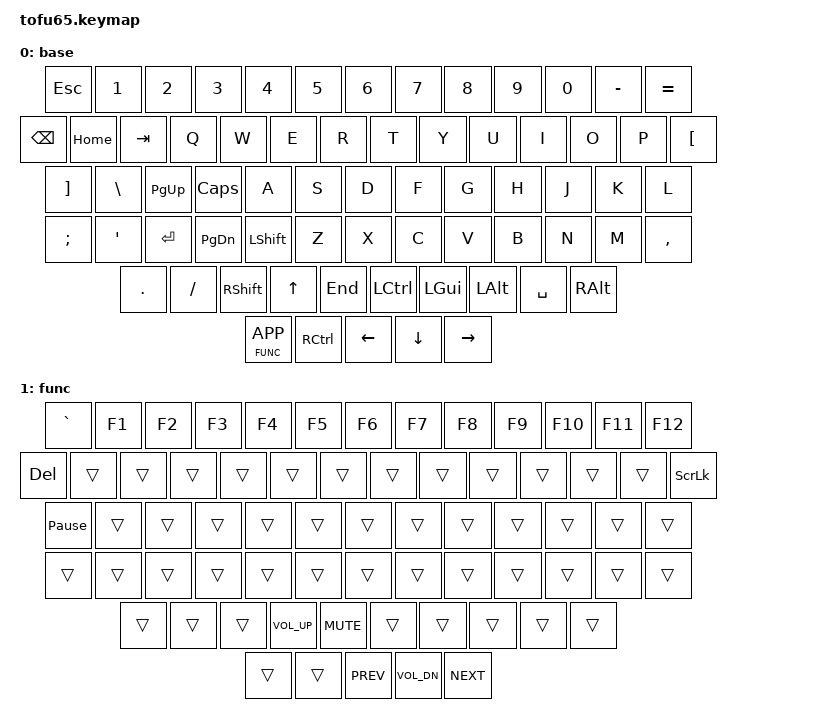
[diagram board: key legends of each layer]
// Copyright (c) 2023 The ZMK Contributors
// SPDX-License-Identifier: MIT

#include <behaviors.dtsi>
#include <dt-bindings/zmk/keys.h>

#define BASE  0
#define FUNC  1

//
// ---------- Tofu65 2.0 key switch positions ----------
//
// -------------------------------------------------------------------------------------------------
// |  0  |  1  |  2  |  3  |  4  |  5  |  6  |  7  |  8  |  9  |  10  |  11  |  12  |   13   |  14 |
// -------------------------------------------------------------------------------------------------
// |  15    |  16 |  17 |  18 |  19 |  20 |  21 |  22 |  23 |  24 |  24 |  26 |  27 |   28   |  29 |
// -------------------------------------------------------------------------------------------------
// |  30     |  31 |  32 |  33 |  34 |  35 |  36 |  37 |  38 |  39 |  40 |  41  |     42     |  43 |
// -------------------------------------------------------------------------------------------------
// |     44     |  45 |  46 |  47 |  48 |  49 |  50 |  51 |  52 |  53 |  54 |    55   |  56  |  57 |
// -------------------------------------------------------------------------------------------------
// |   58  |   59  |   60  |                   61              |  62 |  63 |  64 |  65 |  66 |  67 |
// -------------------------------------------------------------------------------------------------
//

/ {
    combos {
        compatible = "zmk,combos";

        // BACKSPACE + LCTRL + LALT = &sys_reset
        combo_bootloader {
            timeout-ms = <100>;
            key-positions = <13 58 60>;
            bindings = <&sys_reset>;
        };

        // RETURN + LCTRL + LALT = &bootloader
        combo_sys_reset {
            timeout-ms = <100>;
            key-positions = <42 58 60>;
            bindings = <&bootloader>;
        };
    };

    keymap {
        compatible = "zmk,keymap";

        base {

            // --------- Default QWERTY Layout ---------
            // Layer 0 BASE
            // -------------------------------------------------------------------------------------------------
            // | ESC |  1  |  2  |  3  |  4  |  5  |  6  |  7  |  8  |  9  |  0  |  -  |  =  |    BSPC   | HME |
            // -------------------------------------------------------------------------------------------------
            // | TAB    |  Q  |  W  |  E  |  R  |  T  |  Y  |  U  |  I  |  O  |  P  |  [  |  ]   |   \   | PGU |
            // -------------------------------------------------------------------------------------------------
            // | CAPS    |  A  |  S  |  D  |  F  |  G  |  H  |  J  |  K  |  L  |  ;  |  '   |    ENTER   | PGD |
            // -------------------------------------------------------------------------------------------------
            // | LSHIFT     |  Z  |  X  |  C  |  V  |  B  |  N  |  M  |  ,  |  .  |  /  |    RSHFT |  ↑  | END |
            // -------------------------------------------------------------------------------------------------
            // | LCTL | LGUI | LALT |                     SPACE         | RALT | RGUI | RCTL |  <- |  ↓  | ->  |
            // -------------------------------------------------------------------------------------------------
            bindings = <&kp ESC &kp N1 &kp N2 &kp N3 &kp N4 &kp N5 &kp N6 &kp N7 &kp N8 &kp N9 &kp N0 &kp MINUS &kp
                        EQUAL &kp BSPC &kp HOME &kp TAB &kp Q &kp W &kp E &kp R &kp T &kp Y &kp U &kp I &kp O &kp P &kp
                        LBKT &kp RBKT &kp BSLH &kp PG_UP &kp CLCK &kp A &kp S &kp D &kp F &kp G &kp H &kp J &kp K &kp L
                        &kp SEMI &kp SQT &kp ENTER &kp PG_DN &kp LSHFT &kp Z &kp X &kp C &kp V &kp B &kp N &kp M &kp
                        COMMA &kp DOT &kp FSLH &kp RSHFT &kp UP &kp END &kp LCTRL &kp LGUI &kp LALT &kp SPACE &kp RALT
                        &lt FUNC K_APP &kp RCTRL &kp LEFT &kp DOWN &kp RIGHT>;
        };

        func {
            // --------- Default QWERTY Layout ---------
            // Layer 1 FUNC
            // ---------------------------------------------------------------------------------------------------
            // | ESC | F1  | F2  | F3  | F4  | F5  | F6  | F7  | F8  | F9  | F10 | F11 | F12 |    DEL     | HME  |
            // ---------------------------------------------------------------------------------------------------
            // | ---    | -- | -- | -- | -- | -- | -- | -- | -- | -- | -- | scroll lock | pause |   ---   | PGU  |
            // ---------------------------------------------------------------------------------------------------
            // | CAPS    | --  | --  | --  | --  | --  | --  | --  | --  | --  | --  | --  |     ---      | PGD  |
            // ---------------------------------------------------------------------------------------------------
            // | LSHIFT     | -- | -- | -- | -- | -- | -- | -- | -- | -- | -- |      -----      | VOL UP  | MUTE |
            // ---------------------------------------------------------------------------------------------------
            // | ---- | ---- | ---- |                     ----         | -- | MO 1 | -- | PREV  | VOL DN  | NEXT |
            // ---------------------------------------------------------------------------------------------------
            bindings = <&kp GRAVE &kp F1 &kp F2 &kp F3 &kp F4 &kp F5 &kp F6 &kp F7 &kp F8 &kp F9 &kp F10 &kp F11 &kp F12
                        &kp DEL &trans &trans &trans &trans &trans &trans &trans &trans &trans &trans &trans &trans &kp
                        SLCK &kp PAUSE_BREAK &trans &trans &trans &trans &trans &trans &trans &trans &trans &trans
                        &trans &trans &trans &trans &trans &trans &trans &trans &trans &trans &trans &trans &trans
                        &trans &trans &trans &trans &trans &kp C_VOL_UP &kp C_MUTE &trans &trans &trans &trans &trans
                        &trans &trans &kp C_PREV &kp C_VOL_DN &kp C_NEXT>;
        };
    };
};
